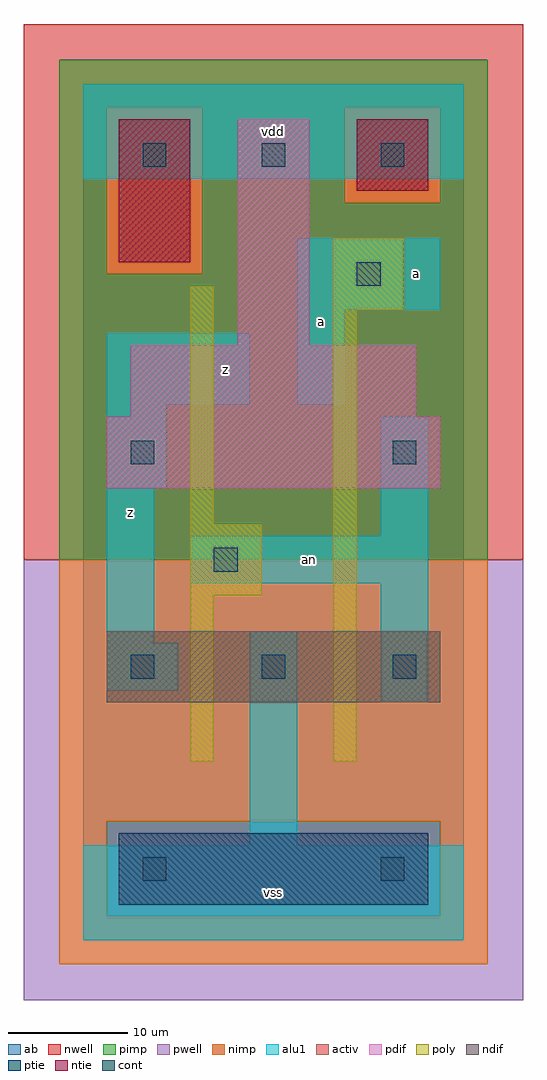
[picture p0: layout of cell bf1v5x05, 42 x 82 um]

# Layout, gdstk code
import gdstk
lib = gdstk.Library(unit=1e-6, precision=1e-09)
def R(c, l, rs):  # rectangles x0, y0, x1, y1
    for r in rs: c.add(gdstk.rectangle(r[:2], r[2:], *l))
def A(c, l, x, y, w, h, nx, ny, dx, dy):  # array of equal rectangles
    R(c, l, [(x+i*dx, y+j*dy, x+i*dx+w, y+j*dy+h) for i in range(nx) for j in range(ny)])
ndif = (3, 0)
pdif = (4, 0)
ntie = (5, 0)
ptie = (6, 0)
cont = (25, 0)
pwell = (41, 0)
nwell = (42, 0)
activ = (43, 0)
pimp = (44, 0)
nimp = (45, 0)
poly = (46, 0)
alu1 = (49, 0)
ab = (63, 0)

bf1v5x05 = lib.new_cell('bf1v5x05')
R(bf1v5x05, ndif, [(2,20,30,26)])
R(bf1v5x05, pdif, [(2,38,30,44), (4,44,28,50), (13,50,19,69)])
R(bf1v5x05, ntie, [(3,57,9,69), (23,63,29,69)])
R(bf1v5x05, ptie, [(3,3,29,9)])
A(bf1v5x05, cont, 4, 22, 2, 2, 3, 1, 11, 0)
A(bf1v5x05, cont, 5, 65, 2, 2, 3, 1, 10, 0)
R(bf1v5x05, cont, [(5,5,7,7), (25,5,27,7), (11,31,13,33), (4,40,6,42), (26,40,28,42), (23,55,25,57)])
R(bf1v5x05, pwell, [(-5,-5,37,32)])
R(bf1v5x05, nwell, [(-5,32,37,77)])
R(bf1v5x05, activ, [(3,3,29,9), (2,20,30,26), (2,38,30,44), (4,44,28,50), (13,50,19,69), (3,57,9,69), (23,63,29,69)])
R(bf1v5x05, pimp, [(2,2,30,10), (-2,32,34,56), (-2,56,2,70), (10,56,34,62), (10,62,22,70), (30,62,34,70), (-2,70,34,74)])
R(bf1v5x05, nimp, [(-2,-2,34,2), (-2,2,2,10), (30,2,34,10), (-2,10,34,32), (2,56,10,70), (22,62,30,70)])
R(bf1v5x05, poly, [(9,15,11,29), (21,15,23,53), (9,29,15,35), (9,35,11,55), (21,53,27,59)])
R(bf1v5x05, alu1, [(0,0,32,8), (14,8,18,26), (25,20,29,30), (2,21,8,25), (2,25,6,38), (9,30,29,34), (25,34,29,44), (2,38,7,45), (2,45,14,51), (18,45,22,53), (18,53,30,59), (0,64,32,72)])
R(bf1v5x05, ab, [(0,0,32,72)])
bf1v5x05.add(gdstk.Label('an', (19,32), layer=49, texttype=0))
bf1v5x05.add(gdstk.Label('z', (4,36), layer=49, texttype=0))
bf1v5x05.add(gdstk.Label('vss', (16,4), layer=49, texttype=0))
bf1v5x05.add(gdstk.Label('z', (12,48), layer=49, texttype=0))
bf1v5x05.add(gdstk.Label('vdd', (16,68), layer=49, texttype=0))
bf1v5x05.add(gdstk.Label('a', (20,52), layer=49, texttype=0))
bf1v5x05.add(gdstk.Label('a', (28,56), layer=49, texttype=0))

lib.write_gds('bf1v5x05.gds')
